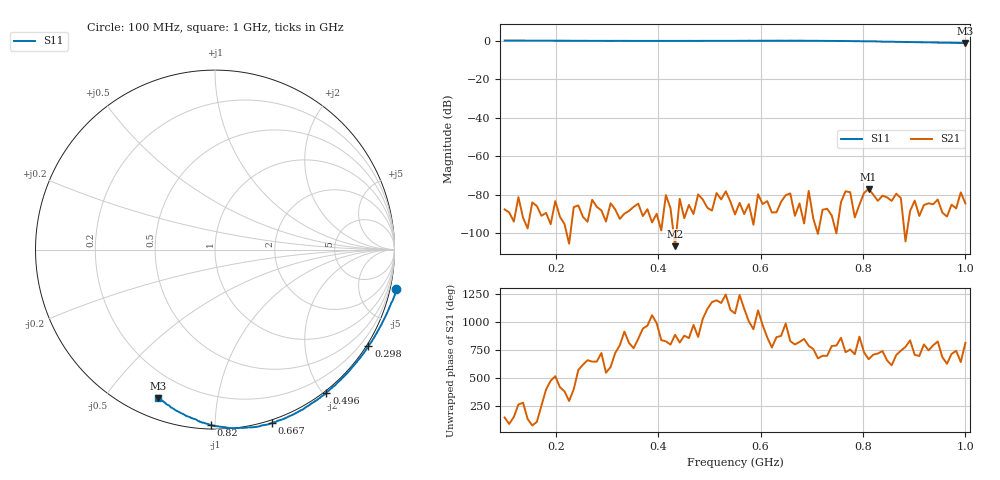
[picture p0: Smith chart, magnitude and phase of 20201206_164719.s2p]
# HZ S RI R 50
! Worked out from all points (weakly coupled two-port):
!   101 points, 100 MHz to 1 GHz, reference 50 ohm
!   highest |S21| = -76.90 dB at 811 MHz (marker M1); lowest = -106.7 dB at 433 MHz (marker M2)
!   lowest |S11| = -1.1 dB at 1 GHz (marker M3), VSWR 16.50, Z = 4.45 - j34.1 ohm
!   |S11| at or under -10 dB: nowhere
!   S12 and S22 are empty: the file has one direction only
!   S11 on the Smith chart (normalised r, x): 100 MHz: -1.30, -9.11; 298 MHz: -0.06, -3.48; 496 MHz: -0.03, -2.05; 667 MHz: -0.02, -1.38; 820 MHz: 0.02, -0.98; 1 GHz: 0.09, -0.68
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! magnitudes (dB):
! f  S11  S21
! 100 MHz  0.3  -87.6
! 253 MHz  0.1  -91.4
! 298 MHz  0.1  -93.9
! 406 MHz  0.1  -98.5
! 433 MHz  0.1  -106.7
! 496 MHz  0.1  -86.7
! 523 MHz  0.1  -82.4
! 532 MHz  0.1  -78.2
! 550 MHz  0.1  -90.2
! 667 MHz  0.1  -90.9
! 685 MHz  0.1  -94.9
! 694 MHz  0.1  -77.9
! 703 MHz  0.1  -92.5
! 757 MHz  0.0  -83.8
! 766 MHz  0.0  -78.1
! 793 MHz  -0.1  -85.2
! 811 MHz  -0.2  -76.9
! 820 MHz  -0.2  -79.9
! 856 MHz  -0.4  -83.2
! 982 MHz  -1.0  -87.1
! 991 MHz  -1.0  -78.7
! 1 GHz  -1.1  -84.5
